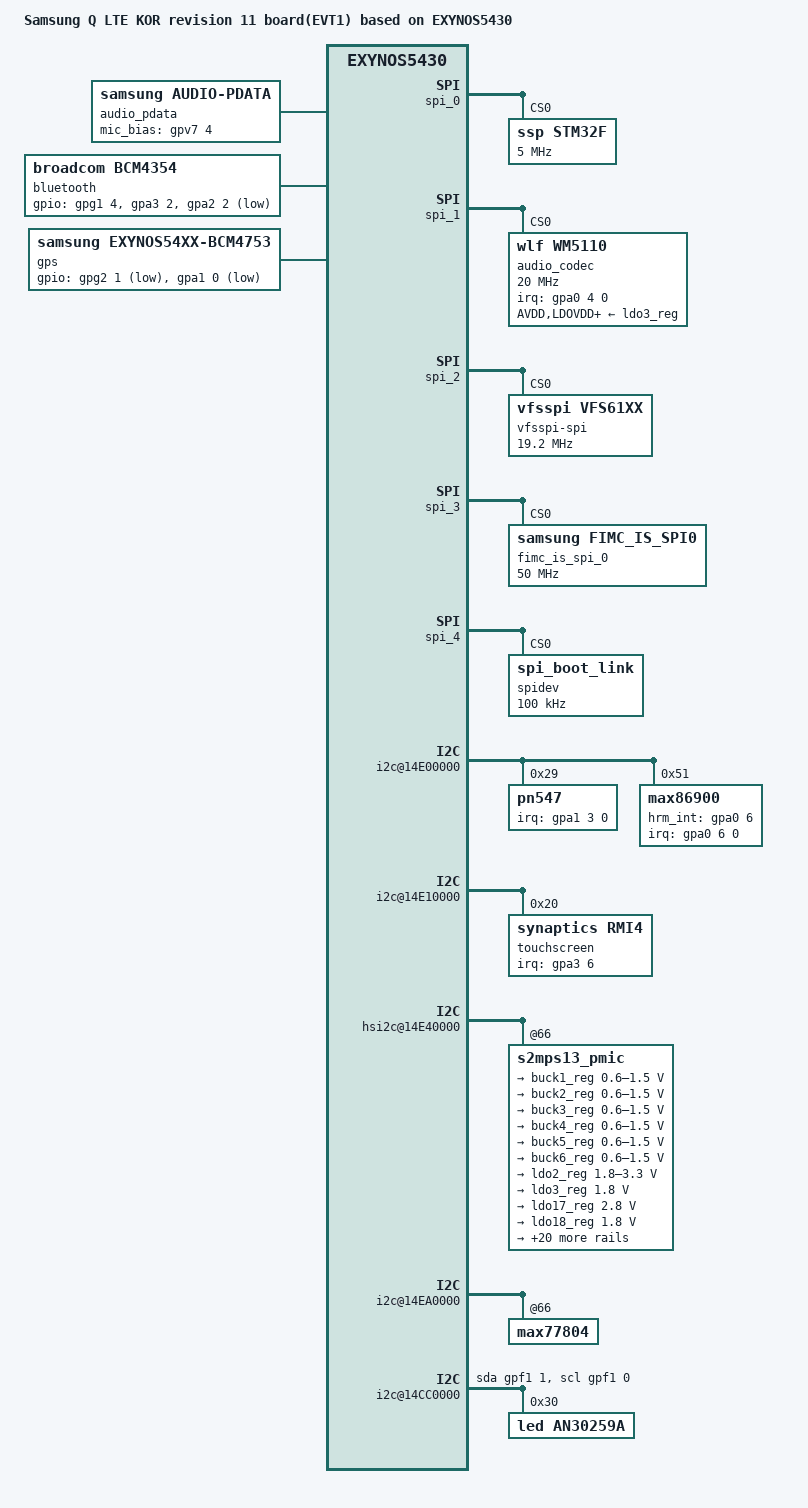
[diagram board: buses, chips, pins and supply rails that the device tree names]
/*
 * SAMSUNG UNIVERSAL5430 board device tree source
 *
 * Copyright (c) 2013 Samsung Electronics Co., Ltd.
 *		http://www.samsung.com
 *
 * This program is free software; you can redistribute it and/or modify
 * it under the terms of the GNU General Public License version 2 as
 * published by the Free Software Foundation.
*/

/dts-v1/;
#include "exynos5430-kq_common.dtsi"
#include "exynos5430-kqlte_kor_03_battery.dtsi"
#include "exynos5430-tdmb-kqlte-r01.dtsi"
#include "exynos5430-kq_gpio.dtsi"
#include "exynos5430-kqlte_gpio-kor_01.dtsi"
#include "exynos5430-kqlte_gpio-kor_02.dtsi"
#include "exynos5430-kqlte_kor-modem-ss300.dtsi"
#include "exynos5430-kq_mhl2x.dtsi"

/ {
	model = "Samsung Q LTE KOR revision 11 board(EVT1) based on EXYNOS5430";
	model_info-chip = <5430>;
	model_info-platform = "kqlte";
	model_info-subtype = "kqlte_kor_open";
	model_info-hw_rev = <11>;
	model_info-hw_rev_end = <255>; /* If add new dts file for new hw , it is set to <x>. x is suppored max system revision by this dts */
	compatible = "samsung,Q LTE KOR,r11", "samsung,exynos5430";

	dwmmc2@15560000 {
		supports-sdr104-mode;
                vmmc-en-gpio = <&gpf3 4 0x1>;
	};

	pinctrl@14CC0000 {
		spi0_bus: spi0-bus {
			samsung,pin-drv = <3>;
		};
		spi0_cs: spi0-cs {
			samsung,pin-drv = <3>;
		};
	};

	spi_0: spi@14d20000 {
		#address-cells = <1>;
		#size-cells = <0>;
		pinctrl-names = "default";
		pinctrl-0 = <&spi0_bus>;
		pinctrl-1 = <&spi0_cs>;

		STM32F@0 {
			compatible = "ssp,STM32F";
			reg = <0>;
			spi-max-frequency = <5000000>;
			pinctrl-names = "default";
			pinctrl-0 = <&ssp_irq &ssp_irq2 &ssp_ap_int &ssp_reset>;

			gpio-controller;
			#gpio-cells = <2>;
			ssp-irq = <&gpa3 3 0x01>;
			ssp-irq2 = <&gpa3 4 0x00>;
			ssp-ap-int = <&gpa3 7 0x00>;
			ssp-reset = <&gpd4 0 0x00>;
			ssp-acc-position = <6>;
			ssp-mag-position = <4>;
			ssp-sns-combination = <0>;
			ssp-ap-rev = <1>;
			ssp-mag-array = <10000 0 0 0 10000 0 0 0 10000>; /* Only for YAS532 */

			controller-data {
				cs-gpio = <&gpd8 1 0>;
				samsung,spi-feedback-delay = <0>;
				};
			};
	};

	spi_1: spi@14d30000 {
		#address-cells = <1>;
		#size-cells = <0>;
		pinctrl-names = "default";
		pinctrl-0 = <&spi1_bus>;

		audio_codec: wm5110@0 {
			compatible = "wlf,wm5110";
			reg = <0x0>;
			spi-max-frequency = <20000000>;
			interrupts = <4 0 0>;
			interrupt-parent = <&gpa0>;

			gpio-controller;
			#gpio-cells = <2>;

			pinctrl-names ="default";
			pinctrl-0 = <&codec_ctrl>;

			wlf,reset = <&gpv7 3 0>;
			wlf,ldoena = <&gpf0 0 0>;
			wlf,init-mic-delay = <30>;
			wlf,micd-detect-debounce = <300>;
			wlf,micd-bias-start-time = <0x1>;
			wlf,micd-rate = <0x7>;
			wlf,micd-dbtime = <0x1>;
			wlf,micd-timeout = <1000>;
			wlf,micd-force-micbias;
			wlf,micd-ranges = <
				139 226
				295 115
				752 114
				1257 217
			>;

			wlf,micd-configs = <
				0x0 1 0
			>;

			wlf,micbias1 = <2800 0 1 0 0>;
			wlf,micbias2 = <1800 0 1 0 0>;
			wlf,micbias3 = <1800 0 1 0 0>;

			wlf,gpio-defaults = <
				0xA101
				0xA101
				0xA101
				0xA101
				0x8101
			>;

			wlf,gpsw = <0x3>;
			wlf,use-jd-gpio;
			wlf,jd-gpio-nopull;
			wlf,micd-software-compare;
			wlf,micd-open-circuit-declare = <1>;

			wlf,max-channels-clocked = <2 0 0>;
			/* 0:MICVDD 1:MICBIAS1 2:MICBIAS2 3:MICBIAS3 */
			wlf,dmic-ref = <2 1 3 0>;
			/* 1st cell:IN1 2rd cell:IN2 3nd cell:IN3 4th cell:IN4 */
			wlf,inmode = <2 0 2 0>;

			AVDD-supply = <&ldo3_reg>;
			LDOVDD-supply = <&ldo3_reg>;
			DBVDD1-supply = <&ldo3_reg>;

			CPVDD-supply = <&ldo3_reg>;
			DBVDD2-supply = <&ldo3_reg>;
			DBVDD3-supply = <&ldo3_reg>;
			SPKVDDL-supply = <&ldo3_reg>;
			SPKVDDR-supply = <&ldo3_reg>;

			adsps {
				#address-cells = <1>;
				#size-cells = <0>;

				adsp@1100 {
					reg = <0x1100>;
					firmware {
						EDAC {
							wlf,wmfw-file = "edac";
							wlf,bin-file = "edac";
						};
						TRACE {
							wlf,wmfw-file = "trace";
							wlf,compr-caps = <1 8 0x4 1 8000 16000 24000>;
						};
					};
				};
				adsp@1200 {
					reg = <0x1200>;
					firmware {
						TX_NB {
							wlf,wmfw-file = "tx-nb";
						};
						TX_WB {
							wlf,wmfw-file = "tx-wb";
						};
						TX_SWB_INTERVIEW {
							wlf,wmfw-file = "tx-swb";
						};
						TX_SWB_CONVERSATION {
							wlf,wmfw-file = "tx-swb";
						};
					};
				};
				adsp@1300 {
					reg = <0x1300>;
					firmware {
						TX_NB {
							wlf,wmfw-file = "tx-nb";
							wlf,bin-file = "tx-nb";
						};
						TX_WB {
							wlf,wmfw-file = "tx-wb";
							wlf,bin-file = "tx-wb";
						};
						TX_SWB_INTERVIEW {
							wlf,wmfw-file = "tx-swb";
							wlf,bin-file = "tx-swb-interview";
						};
						TX_SWB_CONVERSATION {
							wlf,wmfw-file = "tx-swb";
							wlf,bin-file = "tx-swb-conversation";
						};
						VOICECONTROL {
							wlf,wmfw-file = "ez2-control";
							wlf,bin-file = "ez2-control";
						};
						LPSD {
							wlf,wmfw-file = "ez2-control";
							wlf,bin-file = "lpsd-control";
						};
					};
				};
				adsp@1400 {
					reg = <0x1400>;
					firmware {
						RX_NB {
							wlf,wmfw-file = "rx-anc-nb";
							wlf,bin-file = "rx-anc-nb";
						};
						RX_WB {
							wlf,wmfw-file = "rx-anc-wb";
							wlf,bin-file = "rx-anc-wb";
						};
					};
				};
			};
			controller-data {
				cs-gpio = <&gpd6 3 0>;
				samsung,spi-feedback-delay = <0>;
			};
		};
	};

	pinctrl@10580000 {
		btp_irq: btp-irq {
			samsung,pins = "gpa1-7";
			samsung,pin-function = <0>;
			samsung,pin-pud = <3>;
			samsung,pin-drv = <3>;
		};
		btp_irqsleep: btp-irqsleep {
			samsung,pins = "gpa1-7";
			samsung,pin-function = <0>;
			samsung,pin-pud = <1>;
			samsung,pin-drv = <0>;
		};
		btp_reset: btp-reset {
			samsung,pins = "gpa3-1";
			samsung,pin-function = <1>;
			samsung,pin-pud = <1>;
			samsung,pin-drv = <0>;
		};
	};
	pinctrl@14CC0000 {
		ocp_flag: ocf-flag {
			samsung,pins = "gpf0-3";
			samsung,pin-function = <0>;
			samsung,pin-pud = <3>;
			samsung,pin-drv = <3>;
		};
		btp_ldo: btp-ldo {
			samsung,pins = "gpf4-0";
			samsung,pin-function = <1>;
			samsung,pin-pud = <1>;
			samsung,pin-drv = <0>;
		};
		spi2_bus: spi2-bus {
			samsung,pin-drv = <3>;
		};

		spi2_cs: spi2-cs {
			samsung,pin-drv = <3>;
		};
	};
	spi_2: spi@14d40000 {
		/delete-property/ dma-mode;
		/delete-property/ dmas;
		/delete-property/ dma-names;
		#address-cells = <1>;
		#size-cells = <0>;
		pinctrl-names = "default";
		pinctrl-0 = <&spi2_bus>;

		vfsspi-spi@0 {
			compatible = "vfsspi,vfs61xx";
			reg = <0>;
			spi-max-frequency = <19200000>;
			pinctrl-names = "default", "sleep", "idle";
			pinctrl-0 = <&btp_irqsleep &btp_reset &btp_ldo &ocp_flag>;
			pinctrl-1 = <&btp_irqsleep>;
			pinctrl-2 = <&btp_irq>;

			gpio-controller;
			#gpio-cells = <2>;

			vfsspi-sleepPin = <&gpa3 1 0x00>;
			vfsspi-drdyPin = <&gpa1 7 0x00>;
			vfsspi-ldoPin = <&gpf4  0 0x00>;
			/* vfsspi-ocpflag = <&gpf0 3 0x00>; */
			vfsspi-orient = <1>;
			vfsspi-ldocontrol = <1>;
			vfsspi-irqpincon = <2>; /* 1: K3G(5422), 2: KQ(5430) */

			controller-data {
				cs-gpio = <&gpd5 1 0 0 3>;
				samsung,spi-feedback-delay = <0>;
			};
		};
	};

	spi_3: spi@141a0000 {
		fimc-is-spi;
		domain = "cam1";
		samsung,power-domain = <&pd_cam1>;

		#address-cells = <1>;
		#size-cells = <0>;

		fimc_is_spi_0@0 {
			compatible = "samsung,fimc_is_spi0";
			spi-max-frequency = <50000000>;
			reg = <0x0>;

			controller-data {
				cs-gpio = <&gpc0 6 0>;
				samsung,spi-feedback-delay = <0>;
			};
		};
	};

	spi_4: spi@141b0000 {
		fimc-is-spi;
		domain = "cam1";
		samsung,power-domain = <&pd_cam1>;

		#address-cells = <1>;
		#size-cells = <0>;

		spidev@0 {
			#address-cells = <1>;
			#size-cells = <1>;
			compatible = "spi_boot_link";
			reg = <0x0>;
			spi-max-frequency = <100000>;

			controller-data {
				samsung,spi-feedback-delay = <0>;
				samsung,spi-chip-select-mode = <1>;
			};
		};
	};

	audio_pdata {
		compatible = "samsung,audio-pdata";

		mic_bias_gpio = <&gpv7 4 0>;
		status = "okay";
	};

	pinctrl@14CC0000 {
		codec_ctrl: codec-ctl {
			samsung,pins ="gpv7-3", "gpv7-4", "gpf0-0";
			samsung,pin-con-pdn = <3>;
		};
	};

	i2c@14E00000 {
		samsung,i2c-sda-delay = <100>;
		samsung,i2c-max-bus-freq = <400000>;
		#address-cells = <1>;
		#size-cells = <0>;
		status = "okay";

		pn547@2b {
			compatible = "pn547";
			reg = <0x29>;

			interrupts = <3 0 0>;
			interrupt-parent = <&gpa1>;

			pn547-en = <&gpf1 4 0>;
			pn547-irq = <&gpa1 3 0>;
			pn547-firmware = <&gpj0 2 0>;
			pn547-clk-req = <&gpa0 0 0xf>;
			pn547-clk-use = <2>;
			pinctrl-names = "default";
			pinctrl-0 = <&fimc_is_ch1_mclk>;
			clock-names = "sclk_isp_sensor1",
						"mout_sclk_isp_sensor1",
						"dout_sclk_isp_sensor1_a",
						"dout_sclk_isp_sensor1_b",
						"gate_top_cam1";
			clocks = <&clock 34>,
					<&clock 3067>,
					<&clock 4092>,
					<&clock 4093>,
					<&clock 2780>;
		};

		max86900@51 {
			compatible = "max86900";
			reg = <0x51>;
			pinctrl-names = "default";
			pinctrl-0 = <&hrm_int>;
			interrupt-parent = <&gpa0>;
			interrupts = <6 0 0>;
			max86900,hrm_int-gpio = <&gpa0 6 0x00>;
			max86900,hrm_vdd = "V_HRM_1.8V_REV04";
		};
	};

	pinctrl@10580000 {
		attn_irq: attn-irq {
			samsung,pins = "gpa3-6";
			samsung,pin-function = <0xf>;
			samsung,pin-pud = <0>;
			samsung,pin-drv = <0>;
		};
		attn_input: attn-input {
			samsung,pins = "gpa3-6";
			samsung,pin-function = <0>;
			samsung,pin-pud = <1>;
			samsung,pin-drv = <0>;
		};
	};

	i2c@14E10000 {
		samsung,i2c-sda-delay = <100>;
		samsung,i2c-max-bus-freq = <400000>;
		status = "okay";
		touchscreen@20 {
			compatible = "synaptics,rmi4";
			reg = <0x20>;
			pinctrl-names = "on_state", "off_state";
			pinctrl-0 = <&attn_irq>;
			pinctrl-1 = <&attn_input>;
			synaptics,irq_gpio = <&gpa3 6 0>;
			synaptics,irq_type = <8200>;
			synaptics,max_coords = <1439 2559>;	/* x y */
			synaptics,num_lines = <29 16>;		/* rx tx */
			synaptics,regulator_dvdd = "tsp_io";
			synaptics,regulator_avdd = "tsp_avdd";
			synaptics,project_name = "KQ";
			synaptics,firmware_name = "tsp_synaptics/synaptics_s5100_a3_kq_WQHD.fw"
		};
	};

	hsi2c@14E40000 {
		s2mps13_pmic@66 {
			regulators {
				buck1_reg: BUCK1 {
					regulator-name = "vdd_mif";
					regulator-min-microvolt = <600000>;
					regulator-max-microvolt = <1500000>;
					regulator-always-on;
					regulator-boot-on;
					regulator-ramp-delay = <12000>;
					regulator-initial-mode = <1>;
				};

				buck2_reg: BUCK2 {
					regulator-name = "vdd_eagle";
					regulator-min-microvolt = <600000>;
					regulator-max-microvolt = <1500000>;
					regulator-always-on;
					regulator-boot-on;
					regulator-ramp-delay = <12000>;
					regulator-initial-mode = <1>;
				};

				buck3_reg: BUCK3 {
					regulator-name = "vdd_kfc";
					regulator-min-microvolt = <600000>;
					regulator-max-microvolt = <1500000>;
					regulator-always-on;
					regulator-boot-on;
					regulator-ramp-delay = <12000>;
					regulator-initial-mode = <1>;
				};

				buck4_reg: BUCK4 {
					regulator-name = "vdd_int";
					regulator-min-microvolt = <600000>;
					regulator-max-microvolt = <1500000>;
					regulator-always-on;
					regulator-boot-on;
					regulator-ramp-delay = <12000>;
					regulator-initial-mode = <1>;
				};

				buck5_reg: BUCK5 {
					regulator-name = "vdd_disp_cam0";
					regulator-min-microvolt = <600000>;
					regulator-max-microvolt = <1500000>;
					regulator-always-on;
					regulator-boot-on;
					regulator-ramp-delay = <12000>;
					regulator-initial-mode = <1>;
				};

				buck6_reg: BUCK6 {
					regulator-name = "vdd_g3d";
					regulator-min-microvolt = <600000>;
					regulator-max-microvolt = <1500000>;
					regulator-always-on;
					regulator-boot-on;
					regulator-ramp-delay = <12000>;
					regulator-initial-mode = <1>;
				};

				ldo2_reg: LDO2 {
					regulator-name = "vqmmc";
					regulator-min-microvolt = <1800000>;
					regulator-max-microvolt = <3300000>;
					regulator-boot-on;
					regulator-ramp-delay = <12000>;
					regulator-initial-mode = <1>;
				};

				ldo3_reg: LDO3 {
					regulator-name = "VDD1_E_1.8V_AP";
					regulator-min-microvolt = <1800000>;
					regulator-max-microvolt = <1800000>;
					regulator-always-on;
					regulator-initial-mode = <3>;
				};

				ldo17_reg: LDO17 {
					regulator-name = "vmmc";
					regulator-min-microvolt = <2800000>;
					regulator-max-microvolt = <2800000>;
				};

				ldo18_reg: LDO18 {
					regulator-name = "V_HRM_1.8V";
					regulator-min-microvolt = <1800000>;
					regulator-max-microvolt = <1800000>;
				};

				ldo19_reg: LDO19 {
					regulator-name = "VDDA_1.8V_COMP";
					regulator-min-microvolt = <1800000>;
					regulator-max-microvolt = <1800000>;
				};

				ldo21_reg: LDO21 {
					regulator-name = "VT_CAM_1.8V";
					regulator-min-microvolt = <1800000>;
					regulator-max-microvolt = <1800000>;
				};

				ldo22_reg: LDO22 {
					regulator-name = "CAM_IO_1.8V_AP";
					regulator-min-microvolt = <1800000>;
					regulator-max-microvolt = <1800000>;
				};

				ldo23_reg: LDO23 {
					regulator-name = "CAM_SEN_CORE_1.2V_AP";
					regulator-min-microvolt = <1200000>;
					regulator-max-microvolt = <1200000>;
				};

				ldo24_reg: LDO24 {
					regulator-name = "VT_CAM_1.2V";
					regulator-min-microvolt = <1200000>;
					regulator-max-microvolt = <1200000>;
				};

				ldo25_reg: LDO25 {
					regulator-name = "CAM_SEN_A2.8V_AP";
					regulator-min-microvolt = <2800000>;
					regulator-max-microvolt = <2950000>;
				};

				ldo26_reg: LDO26 {
					regulator-name = "CAM_AF_2.8V_AP";
					regulator-min-microvolt = <2800000>;
					regulator-max-microvolt = <2800000>;
				};

				ldo27_reg: LDO27 {
					regulator-name = "VCC_3.0V_LCD_AP";
					regulator-min-microvolt = <3000000>;
					regulator-max-microvolt = <3000000>;
					regulator-boot-on;
				};

				ldo28_reg: LDO28 {
					regulator-name = "VCC_1.8V_LCD_AP";
					regulator-min-microvolt = <1800000>;
					regulator-max-microvolt = <1800000>;
					regulator-boot-on;
				};

				ldo29_reg: LDO29 {
					regulator-name = "VT_CAM_2.8V";
					regulator-min-microvolt = <2800000>;
					regulator-max-microvolt = <2800000>;
				};

				ldo30_reg: LDO30 {
					regulator-name = "tsp_avdd";
					regulator-min-microvolt = <3300000>;
					regulator-max-microvolt = <3300000>;
				};

				ldo31_reg: LDO31 {
					regulator-name = "tsp_io";
					regulator-min-microvolt = <1800000>;
					regulator-max-microvolt = <1800000>;
				};

				ldo32_reg: LDO32 {
					regulator-name = "vtouch_1.8v";
					regulator-min-microvolt = <1800000>;
					regulator-max-microvolt = <1800000>;
				};

				ldo33_reg: LDO33 {
					regulator-name = "vtouch_3.3v";
					regulator-min-microvolt = <3300000>;
					regulator-max-microvolt = <3300000>;
				};

				ldo34_reg: LDO34 {
					regulator-name = "VCC_1.8V_MHL";
					regulator-min-microvolt = <1800000>;
					regulator-max-microvolt = <1800000>;
				};

				ldo35_reg: LDO35 {
					regulator-name = "FPGA_3.3V";
					regulator-min-microvolt = <3300000>;
					regulator-max-microvolt = <3300000>;
				};

				ldo36_reg: LDO36 {
					regulator-name = "VSIL_1.2V";
					regulator-min-microvolt = <1200000>;
					regulator-max-microvolt = <1200000>;
				};

				ldo38_reg: LDO38 {
					regulator-name = "VCC_3.0V_MOTOR_AP";
					regulator-min-microvolt = <3000000>;
					regulator-max-microvolt = <3000000>;
				};

				ldo39_reg: LDO39 {
					regulator-name = "V_HRM_1.8V_REV04";
					regulator-min-microvolt = <1800000>;
					regulator-max-microvolt = <1800000>;
				};

				ldo40_reg: LDO40 {
					regulator-name = "V_IRLED_3.3V";
					regulator-min-microvolt = <3300000>;
					regulator-max-microvolt = <3300000>;
					regulator-initial-mode = <1>;
				};
			};
		};
	};

	pinctrl@14CC0000 {
		vibetonz_pwm: vibetonz-pwm {
		      samsung,pins = "gpd2-4";
		      samsung,pin-function = <2>;
		      samsung,pin-pud = <0>;
		      samsung,pin-drv = <0>;
	      };
	};

	i2c@14EA0000 {
		samsung,i2c-sda-delay = <100>;
		samsung,i2c-max-bus-freq = <400000>;
		status = "okay";
		max77804@66 {
			status = "okay";
		};
		max77828@49 {
			status = "disabled";
		};
	};

	i2c_8: i2c@14130000 {
		samsung,spi-feedback-delay = <0>;
		samsung,spi-chip-select-mode = <1>;
        };

	torch {
		status = "okay";
		leds1 {
			ledname = "leds-sec1";
		/* MAX77804_FLASH_LED_1 */
			id = <0>;
		/* MAX77804_FLASH_TIME_187P5MS */
			timer = <2>;
		/* MAX77804_TIMER_MODE_MAX_TIMER */
			timer_mode = <1>;
		/* MAX77804_LED_CTRL_BY_FLASHSTB */
			cntrl_mode = <0>;
			brightness = <0x3D>;
		};
		leds2 {
			ledname = "torch-sec1";
		/* MAX77804_TORCH_LED_1 */
			id = <1>;
		/* MAX77804_LED_CTRL_BY_FLASHSTB */
			cntrl_mode = <0>;
			brightness = <0x06>;
		};
	};

	pinctrl@114B0000 {
		uart_aud_rts: uart-aud-rts {
			samsung,pins = "gpz1-3";
			samsung,pin-function = <2>;
			samsung,pin-pud = <3>;
			samsung,pin-con-pdn = <1>;
			samsung,pin-pud-pdn = <3>;
		};

		uart_aud_cts: uart-aud-cts {
			samsung,pins = "gpz1-2";
			samsung,pin-function = <2>;
			samsung,pin-pud = <3>;
			samsung,pin-con-pdn = <2>;
			samsung,pin-pud-pdn = <3>;
		};

		uart_aud_rx: uart-aud-rx {
			samsung,pins = "gpz1-1";
			samsung,pin-function = <2>;
			samsung,pin-pud = <3>;
			samsung,pin-con-pdn = <2>;
			samsung,pin-pud-pdn = <3>;
		};

		uart_aud_tx: uart-aud-tx {
			samsung,pins = "gpz1-0";
			samsung,pin-function = <2>;
			samsung,pin-pud = <3>;
			samsung,pin-con-pdn = <1>;
			samsung,pin-pud-pdn = <3>;
		};
	};

	serial@11460000 {
		pinctrl-0 = <&uart_aud_rts &uart_aud_cts &uart_aud_rx &uart_aud_tx>;
	};

/*
			samsung,pins = "gpa0-0";

			samsung,pin-function = <2>;
			0 : input, 1 : output 2 : special_function

			samsung,pin-pud = <0>;
			0 : reserved 1 : pull down 2 : reserved 3 : pull up

			samsung,pin-con-pdn = <2>;
			0 : output0 1 : output1 2: input 3: previous state

			samsung,pin-pud-pdn = <0>;
			0 : pull up/down disable 1 : pull down 2 : reserved 3 : pull up
*/

	pinctrl@14CC0000 {
		cfg_en: cfg-en {
			samsung,pins ="gpg1-4";
			samsung,pin-function = <1>;
			samsung,pin-pud = <1>;
			samsung,pin-con-pdn = <3>;
			samsung,pin-pud-pdn = <1>;
		};
	};

	pinctrl@10580000{
		cfg_hostwake: cfg-hostwake {
			samsung,pins = "gpa2-2";
			samsung,pin-function = <0>;
			samsung,pin-pud = <2>;
			samsung,pin-con-pdn = <2>;
			samsung,pin-pud-pdn = <0>;
		};

		cfg_btwake: cfg-btwake {
			samsung,pins = "gpa3-2";
			samsung,pin-function = <1>;
			samsung,pin-pud = <1>;
			samsung,pin-con-pdn = <0>;
			samsung,pin-pud-pdn = <1>;
		};
	};

	bluetooth {
		compatible = "broadcom,bcm4354";

		gpios = <&gpg1 4 0	/*BT_EN*/
				&gpa3 2 0	/*BT_WAKE*/
				&gpa2 2 0xF	/*BT_HOST_WAKE*/ >;

		pinctrl-names = "default";
		pinctrl-0=<&cfg_hostwake &cfg_btwake &cfg_en>;
		status = "okay";
	};

	pinctrl@14CC0000 {
		uart0_rts: uart0-rts {
			samsung,pins = "gpd0-3";
			samsung,pin-function = <2>;
			samsung,pin-pud = <0>;
			samsung,pin-con-pdn = <1>;
			samsung,pin-pud-pdn = <0>;
		};

		uart0_cts: uart0-cts {
			samsung,pins = "gpd0-2";
			samsung,pin-function = <2>;
			samsung,pin-pud = <0>;
			samsung,pin-con-pdn = <2>;
			samsung,pin-pud-pdn = <1>;
		};

		uart0_tx: uart0-tx {
			samsung,pins = "gpd0-1";
			samsung,pin-function = <2>;
			samsung,pin-pud = <0>;
			samsung,pin-con-pdn = <2>;
			samsung,pin-pud-pdn = <3>;		};

		uart0_rx: uart0-rx {
			samsung,pins = "gpd0-0";
			samsung,pin-function = <2>;
			samsung,pin-pud = <3>;
			samsung,pin-con-pdn = <2>;
			samsung,pin-pud-pdn = <3>;
		};
	};

	serial@14C10000 {
		pinctrl-0 = <&uart0_rts &uart0_cts &uart0_tx &uart0_rx>;
	};

	gps {
		compatible = "samsung,exynos54xx-bcm4753";
		gpios = <&gpg2 1 0x1
				&gpa1 0 0xf
				>;
		status = "okay";
	};

	usb_notifier {
		gpios_redriver_en = <&gpf3 2 0x1>; /* USB3.0_REDRIVER_EN */
	};

	i2c@14CC0000 {
		compatible = "i2c-gpio";
		gpios = <&gpf1 1 0 /* sda */
			&gpf1 0 0 /* scl */
			>;
		i2c-gpio,delay-us = <2>;
		#address-cells = <1>;
		#size-cells = <0>;
		status = "okay";
		an30259a@30 {
			compatible = "led,an30259a";
			reg = <0x30>;
			rgb-name = "led_r", "led_g", "led_b";
			rgb-brightness = <0x0 0x0 0x0>;
			rgb-maxbrightness = <0x28 0x28 0x28>;
			rgb-flags = <0 0 0>;
		};
	};

	ion {
		compatible = "samsung,exynos5430-ion";

		contig-names = "common",
			       "mfc_sh",
			       "g2d_wfd",
			       "video",
			       "sectbl",
			       "mfc_fw",
			       "mfc_nfw",
			       "secdma";

		contig = <0 0x400000 0x0>,
		         <2 0x100000 0x0>,
		         <10 0x800000 0x0>,
		         <11 0xC800000 0x0>,
		         <9 0x100000 0x0>,
		         <8 0x200000 0x0>,
		         <12 0x200000 0x0>,
		         <13 0x20000 0x0>;

		contig-isolate_on_boot = <0>, <2>, <8>,
					  <9>, <10>, <11>, <12>, <13>;

		ion_noncontig_heap {
			id-type = <0 0>;
		};

		exynos_contig_heap {
			id-type = <4 6>;
		};
	};
};
